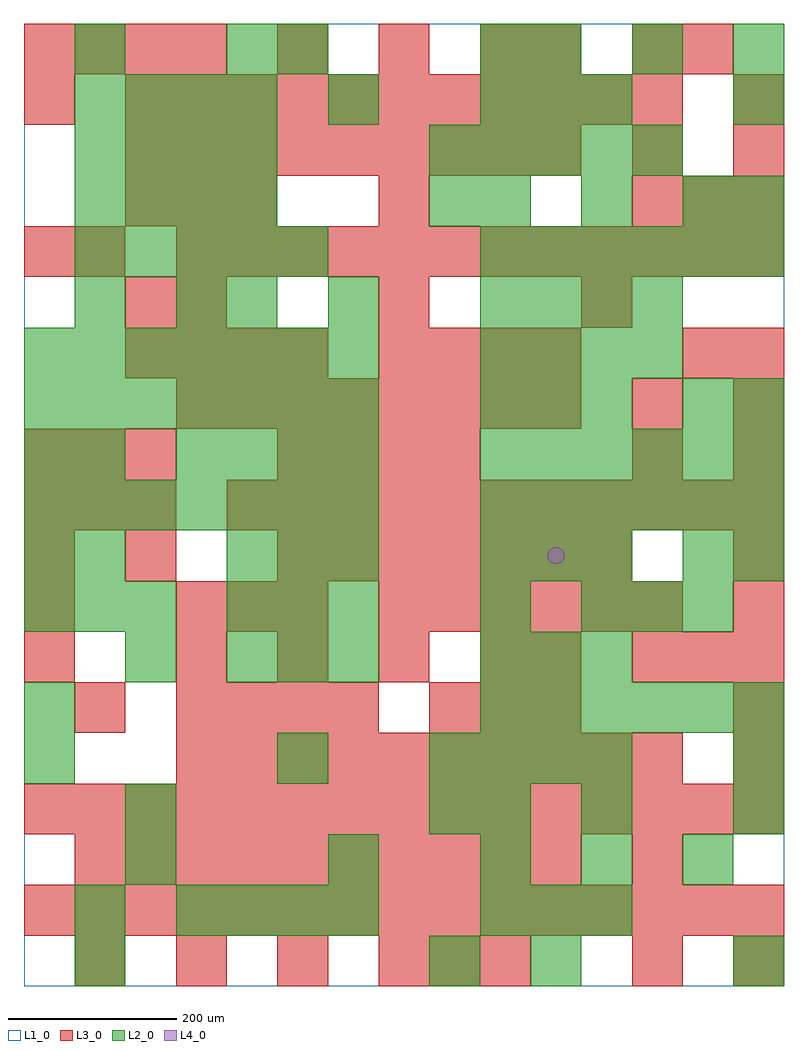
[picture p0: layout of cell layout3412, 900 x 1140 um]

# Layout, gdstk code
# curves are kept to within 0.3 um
import gdstk
lib = gdstk.Library(unit=1e-6, precision=1e-09)
def R(c, l, rs):  # rectangles x0, y0, x1, y1
    for r in rs: c.add(gdstk.rectangle(r[:2], r[2:], *l))
def A(c, l, x, y, w, h, nx, ny, dx, dy):  # array of equal rectangles
    R(c, l, [(x+i*dx, y+j*dy, x+i*dx+w, y+j*dy+h) for i in range(nx) for j in range(ny)])
def P(c, l, *ps):  # polygons
    for p in ps: c.add(gdstk.Polygon(p, *l))
L1_0 = (1, 0)
L2_0 = (2, 0)
L3_0 = (3, 0)
L4_0 = (4, 0)

layout3412 = lib.new_cell('layout3412')
R(layout3412, L1_0, [(0,0,900,1140)])
A(layout3412, L2_0, 180, 60, 60, 60, 4, 2, 60, 540)
A(layout3412, L2_0, 540, 60, 60, 60, 3, 2, 60, 300)
A(layout3412, L2_0, 540, 120, 60, 60, 3, 2, 120, 780)
A(layout3412, L2_0, 480, 240, 60, 60, 4, 1, 60, 0)
A(layout3412, L2_0, 540, 300, 60, 60, 6, 2, 60, 240)
A(layout3412, L2_0, 240, 360, 60, 60, 3, 3, 60, 60)
A(layout3412, L2_0, 0, 420, 60, 60, 3, 1, 60, 0)
A(layout3412, L2_0, 660, 420, 60, 60, 3, 1, 60, 0)
A(layout3412, L2_0, 540, 480, 60, 60, 3, 2, 60, 180)
A(layout3412, L2_0, 0, 540, 60, 60, 7, 2, 60, 120)
A(layout3412, L2_0, 540, 600, 60, 60, 6, 2, 60, 240)
A(layout3412, L2_0, 0, 720, 60, 60, 7, 1, 60, 0)
A(layout3412, L2_0, 540, 720, 60, 60, 4, 2, 60, 60)
A(layout3412, L2_0, 60, 840, 60, 60, 5, 1, 60, 0)
A(layout3412, L2_0, 60, 900, 60, 60, 4, 3, 60, 60)
A(layout3412, L2_0, 480, 960, 60, 60, 5, 1, 60, 0)
A(layout3412, L2_0, 540, 1020, 60, 60, 3, 1, 60, 0)
A(layout3412, L2_0, 600, 1080, 60, 60, 3, 1, 120, 0)
R(layout3412, L2_0, [(60,0,120,60), (480,0,540,60), (600,0,660,60), (840,0,900,60), (60,60,120,120), (120,120,180,180), (360,120,420,180), (120,180,180,240), (480,180,540,240), (540,180,600,240), (660,180,720,240), (840,180,900,240), (0,240,60,300), (300,240,360,300), (840,240,900,300), (0,300,60,360), (120,360,180,420), (540,420,600,480), (0,480,60,540), (60,480,120,540), (780,480,840,540), (840,480,900,540), (0,600,60,660), (60,600,120,660), (780,660,840,720), (840,660,900,720), (60,780,120,840), (180,780,240,840), (240,780,300,840), (360,780,420,840), (480,900,540,960), (840,900,900,960), (360,1020,420,1080), (840,1020,900,1080), (60,1080,120,1140), (240,1080,300,1140), (300,1080,360,1140), (540,1080,600,1140)])
A(layout3412, L3_0, 60, 0, 60, 60, 4, 1, 120, 0)
A(layout3412, L3_0, 0, 60, 60, 60, 15, 2, 60, 120)
A(layout3412, L3_0, 60, 120, 60, 60, 10, 1, 60, 0)
A(layout3412, L3_0, 180, 240, 60, 60, 10, 1, 60, 0)
A(layout3412, L3_0, 180, 300, 60, 60, 4, 1, 60, 0)
A(layout3412, L3_0, 480, 300, 60, 60, 3, 1, 60, 0)
A(layout3412, L3_0, 0, 360, 60, 60, 1, 3, 0, 60)
A(layout3412, L3_0, 180, 360, 60, 60, 4, 1, 120, 0)
A(layout3412, L3_0, 720, 360, 60, 60, 3, 2, 60, 540)
A(layout3412, L3_0, 180, 420, 60, 60, 3, 1, 60, 0)
A(layout3412, L3_0, 420, 420, 60, 60, 6, 1, 60, 0)
A(layout3412, L3_0, 300, 480, 60, 60, 7, 1, 60, 0)
A(layout3412, L3_0, 0, 540, 60, 60, 3, 2, 60, 60)
A(layout3412, L3_0, 240, 540, 60, 60, 11, 1, 60, 0)
A(layout3412, L3_0, 300, 600, 60, 60, 4, 1, 60, 0)
A(layout3412, L3_0, 840, 600, 60, 60, 1, 3, 0, 60)
A(layout3412, L3_0, 180, 660, 60, 60, 8, 1, 60, 0)
A(layout3412, L3_0, 120, 720, 60, 60, 4, 1, 60, 0)
A(layout3412, L3_0, 420, 720, 60, 60, 4, 1, 60, 0)
A(layout3412, L3_0, 180, 780, 60, 60, 3, 1, 240, 0)
A(layout3412, L3_0, 180, 840, 60, 60, 12, 1, 60, 0)
A(layout3412, L3_0, 120, 900, 60, 60, 3, 1, 60, 0)
A(layout3412, L3_0, 120, 960, 60, 60, 9, 1, 60, 0)
A(layout3412, L3_0, 120, 1020, 60, 60, 11, 1, 60, 0)
A(layout3412, L3_0, 0, 1080, 60, 60, 4, 1, 60, 0)
A(layout3412, L3_0, 300, 1080, 60, 60, 3, 1, 120, 0)
R(layout3412, L3_0, [(480,0,540,60), (540,0,600,60), (720,0,780,60), (840,0,900,60), (720,120,780,180), (840,240,900,300), (60,300,120,360), (840,300,900,360), (600,360,660,420), (840,420,900,480), (120,480,180,540), (840,480,900,540), (720,600,780,660), (720,660,780,720), (780,720,840,780), (120,780,180,840), (0,840,60,900), (60,840,120,900), (420,900,480,960), (720,960,780,1020), (840,960,900,1020), (0,1020,60,1080), (840,1020,900,1080), (600,1080,660,1140), (720,1080,780,1140), (780,1080,840,1140)])
P(layout3412, L4_0, [(640,510),(639.239,513.827),(637.071,517.071),(633.827,519.239),(630,520),(626.173,519.239),(622.929,517.071),(620.761,513.827),(620,510),(620.761,506.173),(622.929,502.929),(626.173,500.761),(630,500),(633.827,500.761),(637.071,502.929),(639.239,506.173)])

lib.write_gds('layout3412.gds')
